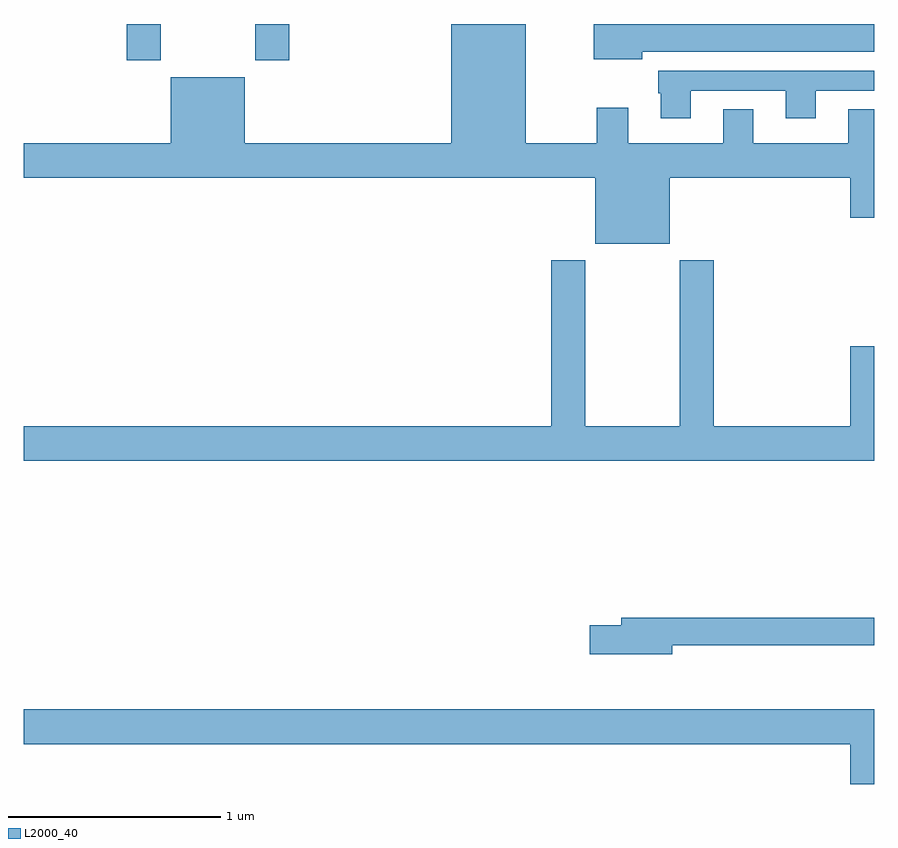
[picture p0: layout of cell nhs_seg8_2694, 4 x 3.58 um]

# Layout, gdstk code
import gdstk
lib = gdstk.Library(unit=1e-6, precision=1e-09)
def R(c, l, rs):  # rectangles x0, y0, x1, y1
    for r in rs: c.add(gdstk.rectangle(r[:2], r[2:], *l))
def P(c, l, *ps):  # polygons
    for p in ps: c.add(gdstk.Polygon(p, *l))
L2000_40 = (2000, 40)

nhs_seg8_2694 = lib.new_cell('nhs_seg8_2694')
R(nhs_seg8_2694, L2000_40, [(281.483,1107.729,281.643,1107.9), (282.088,1107.729,282.248,1107.9)])
P(nhs_seg8_2694, L2000_40, [(284.038,1107.176),(284.888,1107.176),(284.888,1106.988),(285,1106.988),(285,1107.5),(284.879,1107.5),(284.879,1107.34),(284.431,1107.34),(284.431,1107.5),(284.291,1107.5),(284.291,1107.34),(283.843,1107.34),(283.843,1107.505),(283.696,1107.505),(283.696,1107.34),(283.36,1107.34),(283.36,1107.9),(283.01,1107.9),(283.01,1107.34),(282.04,1107.34),(282.04,1107.649),(281.69,1107.649),(281.69,1107.34),(281,1107.34),(281,1107.176),(283.688,1107.176),(283.688,1106.867),(284.038,1106.867)],
  [(283.909,1107.77),(285,1107.77),(285,1107.898),(283.68,1107.898),(283.68,1107.734),(283.909,1107.734)],
  [(284.137,1107.585),(284.585,1107.585),(284.585,1107.456),(284.725,1107.456),(284.725,1107.585),(285,1107.585),(285,1107.681),(283.985,1107.681),(283.985,1107.573),(283.997,1107.573),(283.997,1107.456),(284.137,1107.456)],
  [(285,1106.383),(284.888,1106.383),(284.888,1106.008),(284.246,1106.008),(284.246,1106.788),(284.086,1106.788),(284.086,1106.008),(283.641,1106.008),(283.641,1106.788),(283.481,1106.788),(283.481,1106.008),(281,1106.008),(281,1105.844),(285,1105.844)],
  [(284.05,1104.978),(285,1104.978),(285,1105.106),(283.811,1105.106),(283.811,1105.07),(283.662,1105.07),(283.662,1104.935),(284.05,1104.935)],
  [(285,1104.676),(281,1104.676),(281,1104.512),(284.888,1104.512),(284.888,1104.324),(285,1104.324)])

lib.write_gds('nhs_seg8_2694.gds')
